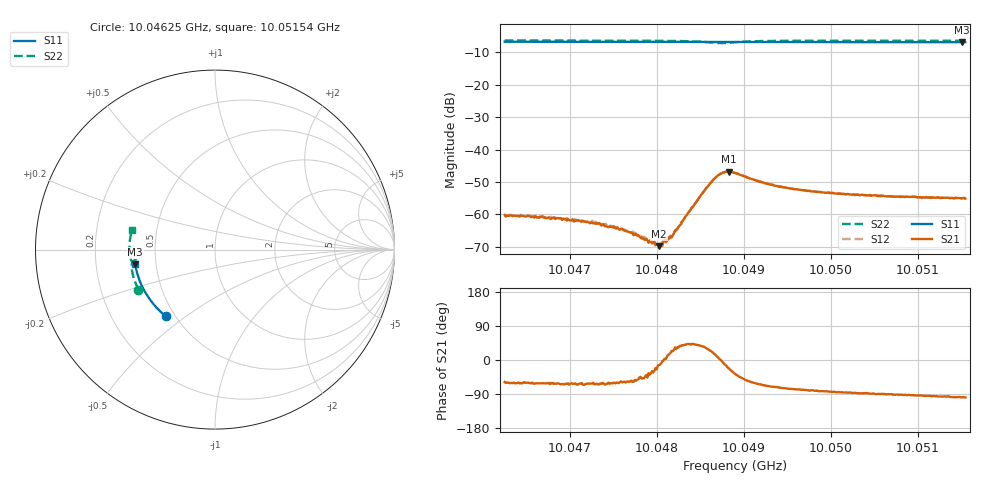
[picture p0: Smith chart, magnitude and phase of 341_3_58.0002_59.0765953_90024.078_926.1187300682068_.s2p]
#  HZ  S  RI  R  50.00
! Rohde & Schwarz Vector Network Analyzer
! Rohde-Schwarz,ZNB20-2Port,1311601062101988,3.16
! Created: UTC 3/21/2024, 1:05:37 AM
! freq[Hz]  re:S11  im:S11  re:S21  im:S21  re:S12  im:S12  re:S22  im:S22
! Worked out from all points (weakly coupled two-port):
!   401 points, 10.04625 GHz to 10.05154 GHz, reference 50 ohm
!   highest |S21| = -46.80 dB at 10.04883 GHz (marker M1); lowest = -69.8 dB at 10.04802 GHz (marker M2)
!   lowest |S11| = -6.9 dB at 10.0515 GHz (marker M3), VSWR 2.65, Z = 19 - j3.95 ohm
!   |S11| at or under -10 dB: nowhere
!   |S22| runs from -7.2 to -6.4 dB; largest |S21 - S12| = 0.00033
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1.004625e10  -0.2719 -0.3726  0.000519 -0.00083  0.000593 -0.000809  -0.4265 -0.223
1.0046872e10  -0.3032 -0.3458  0.000404 -0.000765  0.000463 -0.000749  -0.4434 -0.1848
1.0047137e10  -0.3157 -0.3338  0.000375 -0.000674  0.00041 -0.000703  -0.4493 -0.1678
1.0047282e10  -0.3225 -0.3269  0.000316 -0.000654  0.000387 -0.000624  -0.4526 -0.1581
1.0047613e10  -0.337 -0.3107  0.000306 -0.000491  0.000337 -0.000459  -0.4585 -0.1358
1.0047745e10  -0.3429 -0.304  0.000299 -0.000393  0.000326 -0.000408  -0.4605 -0.1263
1.0047917e10  -0.3499 -0.2951  0.000308 -0.000248  0.000329 -0.000173  -0.4627 -0.1137
1.0048023e10  -0.3542 -0.2897  0.000316 -7.43e-05  0.00034 -7e-05  -0.4638 -0.1056
1.004805e10  -0.3552 -0.2884  0.000334 -4.83e-05  0.000355 -4.63e-05  -0.4639 -0.1037
1.0048089e10  -0.3568 -0.2862  0.000408 2.34e-05  0.000368 5.99e-05  -0.4641 -0.1004
1.0048182e10  -0.3605 -0.2813  0.00044 0.00019  0.000426 0.000249  -0.4643 -0.0927
1.0048539e10  -0.3739 -0.262  0.00188 0.00132  0.00176 0.00139  -0.4525 -0.0614
1.0048645e10  -0.3774 -0.256  0.00322 0.0011  0.00317 0.0013  -0.4409 -0.0582
1.0048738e10  -0.3806 -0.2512  0.00426 -9.24e-05  0.00433 0.000148  -0.4328 -0.0654
1.004883e10  -0.3838 -0.2461  0.00421 -0.00179  0.0043 -0.00159  -0.4369 -0.0755
1.0048897e10  -0.3861 -0.2424  0.00349 -0.00259  0.00371 -0.00234  -0.4447 -0.0778
1.004932e10  -0.3997 -0.2181  0.00097 -0.0027  0.00114 -0.00264  -0.4713 -0.0477
1.0049783e10  -0.4128 -0.1906  0.000396 -0.00222  0.000507 -0.00223  -0.4764 -0.0122
1.0050246e10  -0.4238 -0.1623  0.000112 -0.00202  0.000253 -0.00198  -0.4765 0.0204
1.005067e10  -0.4323 -0.1359  -1.31e-05 -0.00191  7.79e-05 -0.00189  -0.4742 0.0492
1.0051503e10  -0.4444 -0.0826  -0.000274 -0.00177  -0.000133 -0.00176  -0.4648 0.1041
1.0051543e10  -0.4449 -0.0802  -0.000265 -0.00174  -0.000152 -0.00176  -0.4642 0.1066
